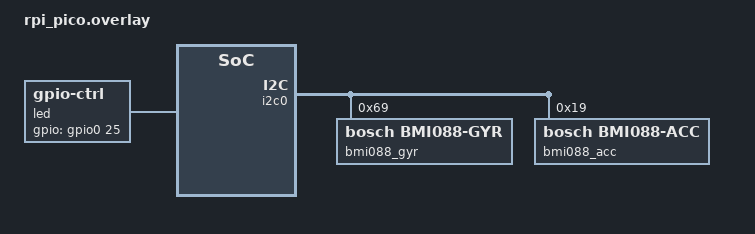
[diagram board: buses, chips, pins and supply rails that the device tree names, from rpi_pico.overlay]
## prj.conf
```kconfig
CONFIG_CPLUSPLUS=y
CONFIG_NEWLIB_LIBC=y
CONFIG_LIB_CPLUSPLUS=y
CONFIG_NEWLIB_LIBC_FLOAT_PRINTF=y
CONFIG_SERIAL=y

CONFIG_GPIO=y
CONFIG_SENSOR=y
CONFIG_I2C=y
CONFIG_BMI088=y
```

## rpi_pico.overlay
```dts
/ {
    led: led {
        compatible = "gpio-ctrl";
        gpios = <&gpio0 25 0x0>;
    };
};
&pinctrl{
	myi2c: myi2c {
		group1 {
			pinmux = <I2C0_SDA_P4>, <I2C0_SCL_P5>;
			input-enable;
			input-schmitt-enable;
		};
	};
};
&i2c0 {
	status = "okay";
	pinctrl-0 = <&myi2c>;
	bmi088_gyr: bmi088_gyr@69 {
        compatible = "bosch,bmi088-gyr";
        reg = <0x69>;
        status = "okay";
    };
    bmi088_acc: bmi088_acc@19 {
        compatible = "bosch,bmi088-acc";
        reg = <0x19>;
        status = "okay";
    };
	
};
```

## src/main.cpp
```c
/*
 * Copyright (c) 2023 Libre Solar Technologies GmbH
 *
 * SPDX-License-Identifier: Apache-2.0
 */

#include <zephyr/devicetree.h>
#include <zephyr/drivers/gpio.h>
#include <zephyr/kernel.h>
#include <zephyr/device.h>
#include <zephyr/drivers/sensor.h>
#include <drivers/bmi088/bmi088_acc.h>
#include <drivers/bmi088/bmi088_gyro.h>
#include <ctime>
#include <stdio.h>
#include <string>

#define GYRO_NODE DT_NODELABEL(bmi088_gyr)
constexpr const device *gyro_sensor_dev = DEVICE_DT_GET(GYRO_NODE);

#define ACCELEROMETER_NODE DT_NODELABEL(bmi088_acc)
constexpr const device *accel_sensor_dev = DEVICE_DT_GET(ACCELEROMETER_NODE);

void sensor_readout() {
    struct sensor_value gyro[3];
    sensor_sample_fetch(gyro_sensor_dev);
    sensor_channel_get(gyro_sensor_dev, SENSOR_CHAN_GYRO_XYZ, gyro);
    printk("Gyro x: %f °/s y: %f °/s z: %f °/s",
            gyro[0],
            gyro[1],
            gyro[2]);

    struct sensor_value accel[3];
    sensor_sample_fetch(accel_sensor_dev);
    sensor_channel_get(accel_sensor_dev, SENSOR_CHAN_ACCEL_XYZ, accel);
    printk("Accelerometer x: %f m/s2 y: %f m/s2 z: %f m/s2",
            accel[0],
            accel[1],
            accel[2]);
}
    
int main(void)
{   
    while(1){
        //LED
        printk("nel main\n");
        k_msleep(1000);

        sensor_readout();
    
    }
	return 0;
}
```
